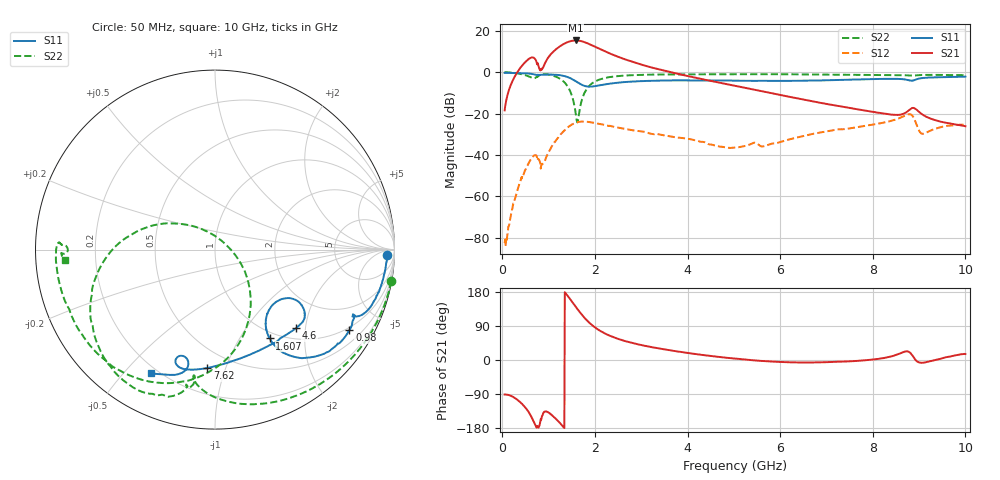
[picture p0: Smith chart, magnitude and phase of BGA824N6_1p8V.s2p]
! (c) 2013 Infineon Technologies AG
! BGA824N6 - SiGe Low Noise Amplifier for Global Navigation Satellite Systems (GNSS)
! 28 Jan. 2013
! Standard Application Board
! C1 = L1 = 0 Ohm
! C2 = 10 nF
! Vcc = 1.8V
! RF input and output lines de-embedded
! Port 1 reference plane: LNA input AI (pin 5)
! Port 2 reference plane: LNA output AO (pin 3)
# Hz S  dB  R 50
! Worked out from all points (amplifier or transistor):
!   1356 points, 50 MHz to 10 GHz, reference 50 ohm
!   highest |S21| = 15.3 dB at 1.585 GHz (marker M1)
!   |S21| within 3 dB of that: 1.234 GHz to 2.001 GHz (767.2 MHz wide, 47.4 % of centre)
!   unconditionally stable (mu >= 1): start of sweep to end of sweep
!   at 1.491 GHz: K = 1.15, MAG = 17.9 dB, |S12| = -25.5 dB
!   at 3.23 GHz: K = 2.21, MAG = 9.8 dB, |S12| = -29.8 dB
!   at 10 GHz: K = 22.31, MAG = -16.8 dB, |S12| = -25.5 dB
!   lowest NFmin = 0.59 dB at 1.55 GHz
!   S11 on the Smith chart (normalised r, x): 50 MHz: 31, -22; 980 MHz: 0.89, -3.39; 1.607 GHz: 0.91, -1.36; 4.6 GHz: 1.23, -1.78; 7.62 GHz: 0.37, -0.87; 10 GHz: 0.17, -0.60
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5e7  -0.37 -1.7  -18.50 -91.0  -82.38 36.2  -0.01 -10.1
5.2e8  -0.64 -18.6  5.33 -128.7  -46.23 167.3  -1.67 -89.6
6.6e8  -0.98 -24.1  7.07 -158.0  -40.79 143.4  -2.91 -99.7
7.8e8  -1.37 -25.8  3.06 -178.4  -41.91 118.2  -1.93 -102.2
8.7e8  -1.28 -27.2  1.74 -145.7  -44.17 140.2  -1.10 -114.4
9.8e8  -1.17 -31.0  6.66 -137.3  -39.45 164.2  -1.12 -130.5
1.12e9  -1.26 -37.2  10.20 -151.4  -33.90 158.5  -1.94 -148.4
1.26e9  -1.55 -44.2  12.65 -168.3  -30.03 147.9  -3.41 -167.8
1.437e9  -2.63 -53.8  14.66 165.2  -26.31 126.5  -7.92 162.1
1.585e9  -4.40 -58.4  15.25 140.6  -24.47 105.3  -19.92 109.0
1.607e9  -4.71 -58.4  15.24 137.0  -24.31 102.2  -23.25 79.6
1.709e9  -6.05 -55.6  14.88 120.8  -23.88 88.2  -14.17 -34.4
1.94e9  -6.96 -40.4  12.88 91.9  -24.34 63.9  -5.45 -75.1
2.19e9  -6.06 -32.9  10.27 71.7  -25.43 48.2  -3.00 -96.2
2.67e9  -4.78 -32.9  5.99 49.3  -27.53 33.8  -1.65 -117.9
3.37e9  -4.12 -36.4  1.37 30.8  -29.99 26.9  -1.20 -136.2
4.6e9  -4.03 -43.9  -4.70 9.3  -35.53 38.0  -1.08 -161.0
5.03e9  -4.14 -48.5  -6.65 3.6  -36.41 62.6  -1.04 -168.4
6.69e9  -4.11 -77.8  -14.10 -6.4  -29.90 107.0  -1.13 178.0
7.62e9  -3.60 -93.8  -17.77 -2.7  -26.73 106.4  -1.27 177.6
8.35e9  -3.26 -104.1  -20.38 7.8  -23.83 103.2  -1.37 178.1
1e10  -2.21 -117.2  -26.12 15.8  -25.48 101.8  -1.55 -176.2
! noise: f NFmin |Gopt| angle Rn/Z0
1.55e+09  0.5868  0.5289  34.17  0.1974
1.557e+09  0.5873  0.5285  34.32  0.1973
1.564e+09  0.5878  0.5281  34.47  0.1971
1.571e+09  0.5883  0.5278  34.62  0.197
1.578e+09  0.5889  0.5274  34.77  0.1968
1.586e+09  0.5895  0.5269  34.94  0.1966
1.593e+09  0.5901  0.5265  35.08  0.1965
1.6e+09  0.5906  0.5261  35.23  0.1963
1.607e+09  0.5912  0.5257  35.38  0.1962
1.615e+09  0.5919  0.5253  35.55  0.196
